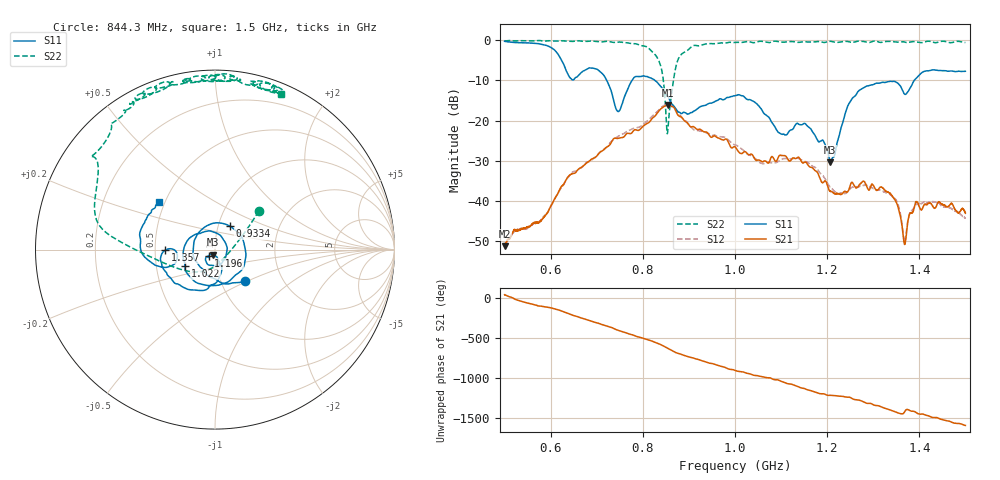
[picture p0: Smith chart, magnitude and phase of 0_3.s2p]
!Agilent Technologies,E8364B,US42250235,A.06.04.32
!Agilent E8364B: A.06.04.32
!Date: Thursday, October 01, 2020 13:13:40
!Correction: S11(Full 2 Port(1,2)) S21(Full 2 Port(1,2)) S12(Full 2 Port(1,2)) S22(Full 2 Port(1,2))
!S2P File: Measurements: S11, S21, S12, S22:
# Hz S  dB  R 50
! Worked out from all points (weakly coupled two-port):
!   2650 points, 500 MHz to 1.5 GHz, reference 50 ohm
!   highest |S21| = -16.10 dB at 854.5 MHz (marker M1); lowest = -51.2 dB at 501.1 MHz (marker M2)
!   lowest |S11| = -30.4 dB at 1.207 GHz (marker M3), VSWR 1.06, Z = 48.7 - j2.68 ohm
!   |S11| at or under -10 dB: 721.6 MHz to 776.4 MHz (54.75 MHz wide, 7.31 % of centre); 826.4 MHz to 1.389 GHz (562.5 MHz wide, 50.8 % of centre)
!   |S22| runs from -23.2 to 0.0 dB; largest |S21 - S12| = 0.012
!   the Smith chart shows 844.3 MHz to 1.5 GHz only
!   S11 on the Smith chart (normalised r, x): 844.3 MHz: 1.30, -0.49; 933.4 MHz: 1.13, +0.31; 1.022 GHz: 0.70, -0.13; 1.196 GHz: 0.93, -0.07; 1.357 GHz: 0.57, -0.00; 1.5 GHz: 0.46, +0.30
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5e8  -0.27 -175.6  -51.11 40.3  -51.13 39.6  -0.17 137.2
5.011325e8  -0.28 -176.3  -51.19 37.2  -51.06 35.9  -0.17 136.8
5.966402e8  -1.56 118.2  -42.13 -119.2  -42.07 -116.1  -0.12 130.1
6.668554e8  -7.99 100.4  -31.58 109.1  -31.67 112.3  -0.22 123.5
7.159305e8  -8.82 28.4  -27.15 20.1  -27.03 26.4  -0.35 112.2
7.461306e8  -17.72 -108.7  -24.41 -43.2  -23.90 -33.5  -0.46 107.0
7.861457e8  -9.00 85.6  -22.31 -120.1  -21.75 -114.2  -0.91 97.8
8.337108e8  -10.85 -21.3  -17.73 151.2  -17.48 153.3  -4.87 57.0
8.442809e8  -12.29 -46.4  -16.60 121.7  -16.33 124.9  -9.75 41.4
8.544734e8  -13.93 -72.5  -16.10 90.7  -15.74 94.3  -22.02 -76.7
8.782559e8  -17.85 -126.0  -18.83 26.1  -18.25 27.6  -4.33 171.5
9.333711e8  -16.22 58.5  -22.77 -71.6  -22.71 -65.0  -1.00 130.3
1.000189e9  -13.77 -104.4  -26.51 176.2  -25.99 -179.4  -0.55 119.2
1.022461e9  -14.36 -151.2  -27.72 146.9  -27.84 144.2  -0.39 114.2
1.166667e9  -22.45 -134.8  -31.60 -80.5  -31.14 -73.7  -0.44 99.1
1.196112e9  -26.06 -135.5  -34.96 -123.3  -34.59 -124.5  -0.51 94.8
1.206682e9  -30.39 -114.5  -37.51 -134.6  -36.47 -135.4  -0.25 96.0
1.253492e9  -14.59 -88.7  -35.32 -172.7  -36.57 -172.1  -0.57 91.3
1.333522e9  -10.25 -159.8  -37.85 49.8  -38.13 54.4  -0.26 84.0
1.357305e9  -11.13 -179.2  -43.01 -0.0  -42.40 2.2  -0.42 81.6
1.368252e9  -13.43 -174.8  -50.79 20.0  -50.11 24.5  -0.45 82.1
1.5e9  -7.71 139.6  -43.01 -150.7  -44.35 -147.6  -0.54 67.1
